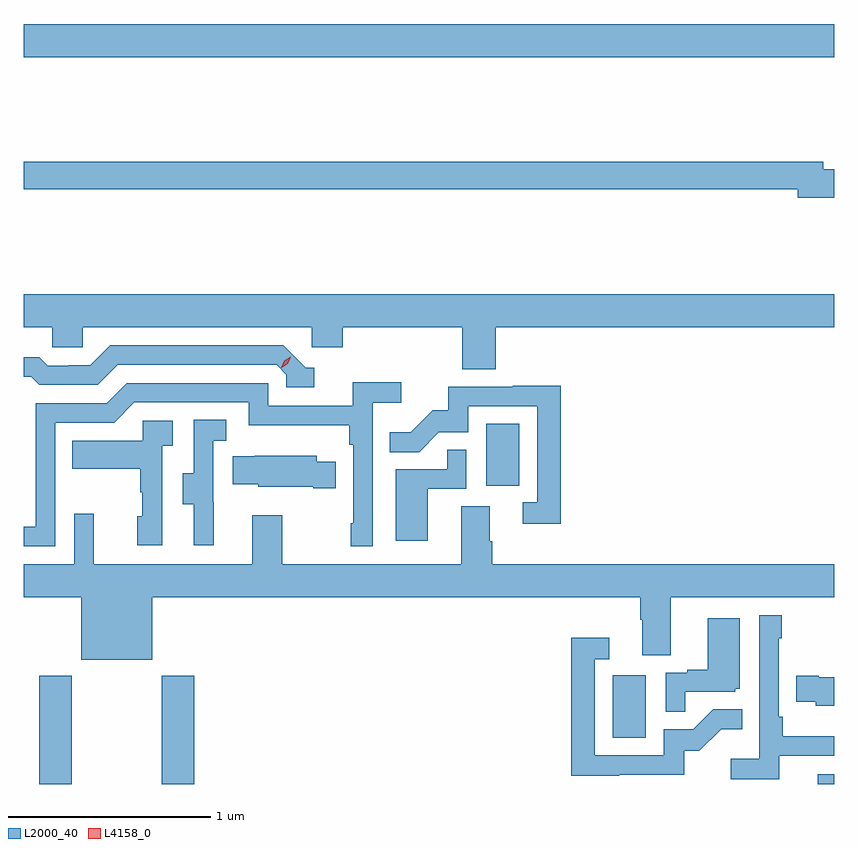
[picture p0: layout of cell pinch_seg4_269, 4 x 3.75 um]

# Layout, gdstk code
import gdstk
lib = gdstk.Library(unit=1e-6, precision=1e-09)
def R(c, l, rs):  # rectangles x0, y0, x1, y1
    for r in rs: c.add(gdstk.rectangle(r[:2], r[2:], *l))
def P(c, l, *ps):  # polygons
    for p in ps: c.add(gdstk.Polygon(p, *l))
L2000_40 = (2000, 40)
L4158_0 = (4158, 0)

pinch_seg4_269 = lib.new_cell('pinch_seg4_269')
R(pinch_seg4_269, L2000_40, [(936.605,818.543,936.765,819.076), (937.21,818.543,937.37,819.076), (940.445,818.543,940.528,818.592), (939.434,818.772,939.598,819.079), (938.81,820.014,938.974,820.321), (936.528,822.128,940.528,822.292)])
P(pinch_seg4_269, L2000_40, [(940.528,821.576),(940.474,821.576),(940.474,821.612),(936.528,821.612),(936.528,821.476),(940.346,821.476),(940.346,821.434),(940.528,821.434)],
  [(938.858,820.796),(940.528,820.796),(940.528,820.96),(936.528,820.96),(936.528,820.796),(936.669,820.796),(936.669,820.698),(936.819,820.698),(936.819,820.796),(937.95,820.796),(937.95,820.698),(938.102,820.698),(938.102,820.796),(938.693,820.796),(938.693,820.588),(938.858,820.588)],
  [(937.963,820.596),(937.92,820.596),(937.809,820.707),(936.956,820.707),(936.857,820.608),(936.75,820.608),(936.75,820.605),(936.647,820.605),(936.605,820.648),(936.528,820.648),(936.528,820.551),(936.566,820.551),(936.605,820.512),(936.894,820.512),(936.993,820.611),(937.776,820.611),(937.824,820.563),(937.824,820.5),(937.963,820.5)],
  [(936.684,820.326),(936.975,820.326),(937.074,820.425),(937.638,820.425),(937.638,820.313),(938.134,820.313),(938.134,820.217),(938.154,820.217),(938.154,819.829),(938.142,819.829),(938.142,819.717),(938.25,819.717),(938.25,820.424),(938.392,820.424),(938.392,820.526),(938.153,820.526),(938.153,820.41),(937.734,820.41),(937.734,820.521),(937.037,820.521),(936.938,820.422),(936.588,820.422),(936.588,819.813),(936.528,819.813),(936.528,819.717),(936.684,819.717)],
  [(939.179,820.508),(938.941,820.508),(938.941,820.503),(938.623,820.503),(938.623,820.386),(938.546,820.386),(938.439,820.279),(938.335,820.279),(938.335,820.18),(938.479,820.18),(938.577,820.278),(938.721,820.278),(938.721,820.407),(939.063,820.407),(939.063,819.933),(938.991,819.933),(938.991,819.828),(939.179,819.828)],
  [(937.466,819.933),(937.464,819.933),(937.464,820.237),(937.528,820.237),(937.528,820.34),(937.368,820.34),(937.368,820.077),(937.313,820.077),(937.313,819.922),(937.367,819.922),(937.367,819.72),(937.466,819.72)],
  [(937.212,820.211),(937.264,820.211),(937.264,820.335),(937.116,820.335),(937.116,820.237),(936.769,820.237),(936.769,820.097),(937.104,820.097),(937.104,819.983),(937.114,819.983),(937.114,819.864),(937.088,819.864),(937.088,819.72),(937.212,819.72)],
  [(938.521,819.999),(938.712,819.999),(938.712,820.193),(938.617,820.193),(938.617,820.095),(938.363,820.095),(938.363,819.744),(938.521,819.744)],
  [(938.069,820.132),(937.975,820.132),(937.975,820.162),(937.669,820.162),(937.669,820.159),(937.561,820.159),(937.561,820.022),(937.686,820.022),(937.686,820.01),(937.958,820.01),(937.958,820.003),(938.069,820.003)],
  [(937.162,819.464),(939.569,819.464),(939.569,819.352),(939.581,819.352),(939.581,819.178),(939.721,819.178),(939.721,819.464),(940.528,819.464),(940.528,819.628),(938.84,819.628),(938.84,819.74),(938.827,819.74),(938.827,819.914),(938.687,819.914),(938.687,819.628),(937.803,819.628),(937.803,819.868),(937.655,819.868),(937.655,819.628),(936.875,819.628),(936.875,819.877),(936.777,819.877),(936.777,819.628),(936.528,819.628),(936.528,819.464),(936.812,819.464),(936.812,819.155),(937.162,819.155)],
  [(940.256,818.682),(940.528,818.682),(940.528,818.779),(940.274,818.779),(940.274,818.875),(940.254,818.875),(940.254,819.263),(940.267,819.263),(940.267,819.376),(940.158,819.376),(940.158,818.668),(940.017,818.668),(940.017,818.566),(940.256,818.566)],
  [(939.791,818.997),(940.038,818.997),(940.038,819.012),(940.06,819.012),(940.06,819.361),(939.902,819.361),(939.902,819.106),(939.803,819.106),(939.803,819.093),(939.696,819.093),(939.696,818.899),(939.791,818.899)],
  [(939.467,818.589),(939.786,818.589),(939.786,818.706),(939.862,818.706),(939.969,818.813),(940.073,818.813),(940.073,818.912),(939.929,818.912),(939.831,818.814),(939.687,818.814),(939.687,818.685),(939.345,818.685),(939.345,819.159),(939.418,819.159),(939.418,819.265),(939.229,819.265),(939.229,818.584),(939.467,818.584)],
  [(940.528,819.07),(940.45,819.07),(940.45,819.078),(940.339,819.078),(940.339,818.948),(940.437,818.948),(940.437,818.93),(940.528,818.93)])
P(pinch_seg4_269, L4158_0, [(937.8,820.597),(937.8,820.597),(937.815,820.63),(937.845,820.65),(937.846,820.65),(937.846,820.65),(937.831,820.617),(937.801,820.597)])

lib.write_gds('pinch_seg4_269.gds')
